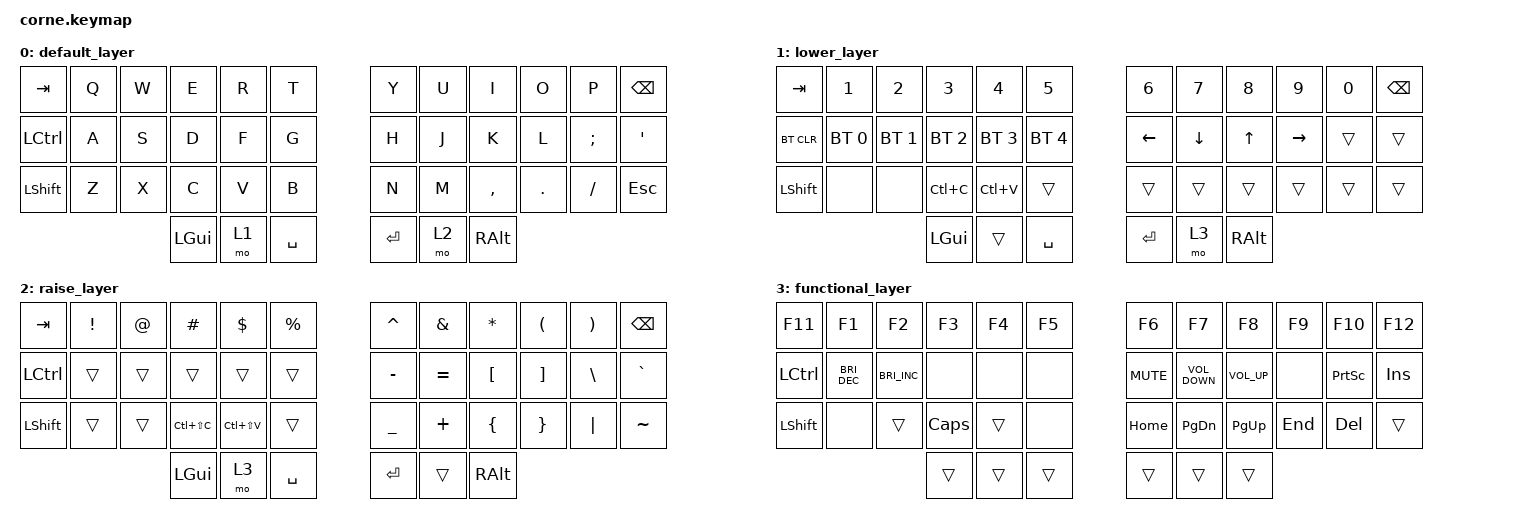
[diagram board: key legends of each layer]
/*
 * Copyright (c) 2020 The ZMK Contributors
 *
 * SPDX-License-Identifier: MIT
 */

#include <behaviors.dtsi>
#include <dt-bindings/zmk/bt.h>
#include <dt-bindings/zmk/keys.h>

/ {
    combos {
        compatible = "zmk,combos";

        combo_esc {
            timeout-ms = <50>;
            key-positions = <0 1>;
            bindings = <&kp ESC>;
        };
    };

    behaviors {
        ss_hs_modmorph: ss_hs_modmorph {
            compatible = "zmk,behavior-mod-morph";
            label = "SS_HS_MODMORPH";
            bindings = <&kp M>, <&kp RIGHT_BRACKET>;

            #binding-cells = <0>;
            mods = <(MOD_LSFT|MOD_RSFT)>;
        };

        kh_hs_tapdance: kh_hs_tapdance {
            compatible = "zmk,behavior-tap-dance";
            label = "KH_HS_TAPDANCE";
            #binding-cells = <0>;
            tapping-term-ms = <200>;
            bindings = <&kp LEFT_BRACKET>, <&kp RIGHT_BRACKET>;
        };

        hrm: hrm {
            compatible = "zmk,behavior-hold-tap";
            #binding-cells = <2>;
            flavor = "tap-preferred";
            tapping-term-ms = <200>;
            quick-tap-ms = <200>;
            require-prior-idle-ms = <125>;
            bindings = <&kp>, <&kp>;
        };
    };

    keymap {
        compatible = "zmk,keymap";

        default_layer {
            // -----------------------------------------------------------------------------------------
            // |  TAB |  Q  |  W  |  E  |  R  |  T  |   |  Y  |  U   |  I  |  O  |  P  | BKSP |
            // | CTRL |  A  |  S  |  D  |  F  |  G  |   |  H  |  J   |  K  |  L  |  ;  |  '   |
            // | SHFT |  Z  |  X  |  C  |  V  |  B  |   |  N  |  M   |  ,  |  .  |  /  | ESC  |
            //                    | GUI | LWR | SPC |   | ENT | RSE  | ALT |

            bindings = <
&kp TAB    &kp Q  &kp W  &kp E     &kp R  &kp T        &kp Y    &kp U  &kp I      &kp O    &kp P     &kp BSPC
&kp LCTRL  &kp A  &kp S  &kp D     &kp F  &kp G        &kp H    &kp J  &kp K      &kp L    &kp SEMI  &kp SQT
&kp LSHFT  &kp Z  &kp X  &kp C     &kp V  &kp B        &kp N    &kp M  &kp COMMA  &kp DOT  &kp FSLH  &kp ESC
                         &kp LGUI  &mo 1  &kp SPACE    &kp RET  &mo 2  &kp RALT
            >;
        };

        lower_layer {
            // -----------------------------------------------------------------------------------------
            // |  TAB |  1  |  2  |  3  |  4  |  5  |   |  6  |  7  |  8  |  9  |  0  | BKSP |
            // | BTCLR| BT1 | BT2 | BT3 | BT4 | BT5 |   | LFT | DWN |  UP | RGT |     |      |
            // | SHFT |     |     |     |     |     |   |     |     |     |     |     |      |
            //                    | GUI |     | SPC |   | ENT |     | ALT |

            bindings = <
&kp TAB     &kp N1        &kp N2        &kp N3        &kp N4        &kp N5          &kp N6    &kp N7    &kp N8    &kp N9     &kp N0  &kp BSPC
&bt BT_CLR  &bt BT_SEL 0  &bt BT_SEL 1  &bt BT_SEL 2  &bt BT_SEL 3  &bt BT_SEL 4    &kp LEFT  &kp DOWN  &kp UP    &kp RIGHT  &trans  &trans
&kp LSHFT   &none         &none         &kp LC(C)     &kp LC(V)     &trans          &trans    &trans    &trans    &trans     &trans  &trans
                                        &kp LGUI      &trans        &kp SPACE       &kp RET   &mo 3     &kp RALT
            >;
        };

        raise_layer {
            // -----------------------------------------------------------------------------------------
            // |  TAB |  !  |  @  |  #  |  $  |  %  |   |  ^  |  &  |  *  |  (  |  )  | BKSP |
            // | CTRL |     |     |     |     |     |   |  -  |  =  |  [  |  ]  |  \  |  `   |
            // | SHFT |     |     |     |     |     |   |  _  |  +  |  {  |  }  | "|" |  ~   |
            //                    | GUI |     | SPC |   | ENT |     | ALT |

            bindings = <
&kp TAB    &kp EXCL  &kp AT  &kp HASH       &kp DLLR       &kp PRCNT    &kp CARET  &kp AMPS   &kp ASTRK  &kp LPAR  &kp RPAR  &kp BSPC
&kp LCTRL  &trans    &trans  &trans         &trans         &trans       &kp MINUS  &kp EQUAL  &kp LBKT   &kp RBKT  &kp BSLH  &kp GRAVE
&kp LSHFT  &trans    &trans  &kp LC(LS(C))  &kp LC(LS(V))  &trans       &kp UNDER  &kp PLUS   &kp LBRC   &kp RBRC  &kp PIPE  &kp TILDE
                             &kp LGUI       &mo 3          &kp SPACE    &kp RET    &trans     &kp RALT
            >;
        };

        functional_layer {
            bindings = <
&kp F11     &kp F1                &kp F2                &kp F3    &kp F4  &kp F5    &kp F6      &kp F7             &kp F8           &kp F9   &kp F10          &kp F12
&kp LCTRL   &kp C_BRIGHTNESS_DEC  &kp C_BRIGHTNESS_INC  &none     &none   &none     &kp C_MUTE  &kp C_VOLUME_DOWN  &kp C_VOLUME_UP  &none    &kp PRINTSCREEN  &kp INSERT
&kp LSHIFT  &none                 &trans                &kp CAPS  &trans  &none     &kp HOME    &kp PAGE_DOWN      &kp PAGE_UP      &kp END  &kp DELETE       &trans
                                                        &trans    &trans  &trans    &trans      &trans             &trans
            >;
        };
    };
};
